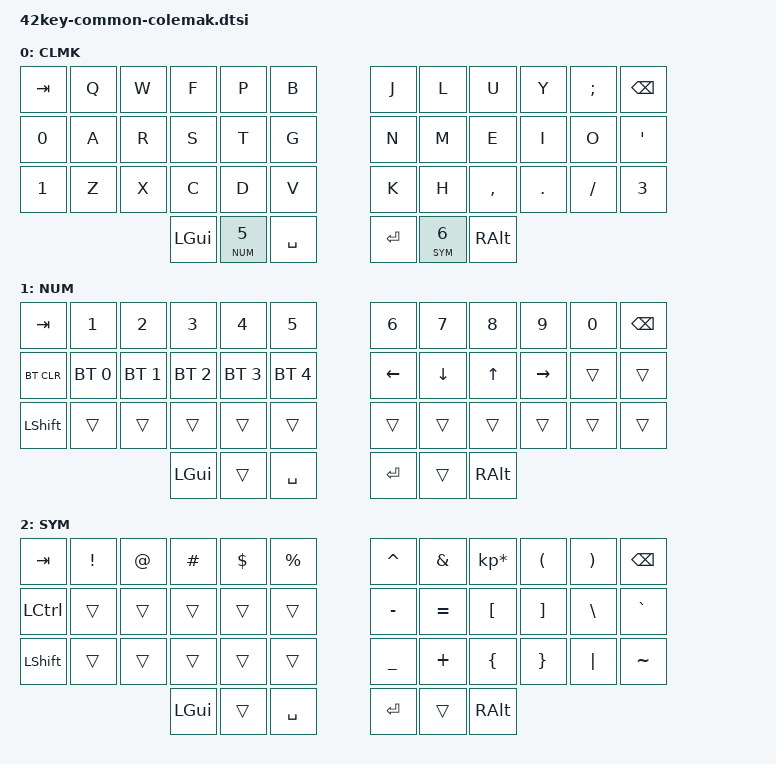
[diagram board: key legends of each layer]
#define DEFAULT 0
#define NUM     1
#define SYM     2

&mt {
   flavor = "tap-preferred";
   tapping_term_ms = <200>;
};

/ {

    // macros
    macros {
      ZMK_MACRO(hello, // hello world
        wait-ms = <0>;
        tap-ms  = <10>;
        bindings = <&kp LS(H) &kp E &kp L &kp L &kp O>
        , <&kp COMMA>
        , <&kp W &kp O &kp R &kp L &kp D &kp EXCL>;
      )

      ZMK_MACRO(encoder, // for encoder switch press
        wait-ms = <0>;
        tap-ms  = <10>;
        bindings = <&kp LS(I) &kp SPACE &kp A &kp M &kp SPACE &kp A &kp SPACE>
        , <&kp E &kp N &kp C &kp O &kp D &kp E &kp R>;
      )

      ZMK_MACRO(spc1, // for spacemacs window nav, Alt+M+1
        wait-ms = <0>;
        tap-ms  = <10>;
        bindings = <&kp LA(M) &kp N1>;
      )
    
      ZMK_MACRO(spc2,
        wait-ms = <0>;
        tap-ms  = <10>;
        bindings = <&kp LA(M) &kp N2>;
      )
    
      ZMK_MACRO(spc3,
        wait-ms = <0>;
        tap-ms  = <10>;
        bindings = <&kp LA(M) &kp N3>;
      )
    };
   
    // custom shift using mod-morph 
    // behaviors {
    //   cmqus: comma_question {
    //     compatible = "zmk,behavior-mod-morph";
    //     label = "COMMA_QUESTION";
    //     #binding-cells = <0>;
    //     bindings = <&kp COMMA>, <&kp QUESTION>;
    //     mods = <(MOD_LSFT|MOD_RSFT)>;
    //   };

    //   dtild: dot_tilde {
    //     compatible = "zmk,behavior-mod-morph";
    //     label = "DOT_TILDE";
    //     #binding-cells = <0>;
    //     bindings = <&kp DOT>, <&kp TILDE>;
    //     mods = <(MOD_LSFT|MOD_RSFT)>;
    //   };
    // };

    // combos
    combos {
        compatible = "zmk,combos";
        // right hand 
        combo_esc {
            timeout-ms = <50>;
            key-positions = <19 20>;
            bindings = <&kp ESC>;
        };
        
         combo_lgui {
            timeout-ms = <50>;
            key-positions = <6 7>;
            bindings = <&kp LGUI>;
        };
        
         combo_fullscreen {
            timeout-ms = <50>;
            key-positions = <30 31>;
            bindings = <&kp F11>;
        };
        
         combo_wkspc_up {
            timeout-ms = <50>;
            key-positions = <11 23>;
            bindings = <&kp LC(UP)>;
        };
        
         combo_wkspc_down {
            timeout-ms = <50>;
            key-positions = <23 35>;
            bindings = <&kp LC(DOWN)>;
        };

         combo_win_up {
            timeout-ms = <50>;
            key-positions = <9 10>;
            bindings = <&kp LS(LG(UP))>;
        };
        
         combo_win_down {
            timeout-ms = <50>;
            key-positions = <33 34>;
            bindings = <&kp LS(LG(DOWN))>;
        };

         combo_win_left {
            timeout-ms = <50>;
            key-positions = <21 22>;
            bindings = <&kp LS(LG(LEFT))>;
        };

         combo_win_right {
            timeout-ms = <50>;
            key-positions = <22 23>;
            bindings = <&kp LS(LG(RIGHT))>;
        };
 
         combo_rdelete {
            timeout-ms = <50>;
            key-positions = <18 19>;
            bindings = <&kp DELETE>;
        };
 
        // left hand 
        combo_zoomin {
            timeout-ms = <50>;
            key-positions = <4 5>;
            bindings = <&kp LC(PLUS)>;
        };
 
        combo_zoomout {
            timeout-ms = <50>;
            key-positions = <28 29>;
            bindings = <&kp LC(MINUS)>;
        };
 
        combo_pgdn {
            timeout-ms = <50>;
            key-positions = <27 28>;
            bindings = <&kp PG_DN>;
        };
 
        combo_pgup {
            timeout-ms = <50>;
            key-positions = <3 4>;
            bindings = <&kp PG_UP>;
        };

        combo_ldelete {
            timeout-ms = <50>;
            key-positions = <16 17>;
            bindings = <&kp DELETE>;
        };

        // symbols
        combo_underscore {
            timeout-ms = <50>;
            key-positions = <14 15>;
            bindings = <&kp UNDERSCORE>;
        };

        combo_minus {
            timeout-ms = <50>;
            key-positions = <15 16>;
            bindings = <&kp MINUS>;
        };

        // others
        combo_capswd {
            timeout-ms = <50>;
            key-positions = <3 8>;
            bindings = <&caps_word>;
        };

        combo_lsym {
            timeout-ms = <50>;
            key-positions = <37 40>;
            bindings = <&tog SYM>;
        };

        combo_lnum {
            timeout-ms = <50>;
            key-positions = <38 39>;
            bindings = <&tog NUM>;
        };

        combo_hello {
            timeout-ms = <50>;
            key-positions = <37 38>;
            bindings = <&hello>;
        };

        combo_outble {
            timeout-ms = <50>;
            key-positions = <5 17>;
            bindings = <&out OUT_BLE>;
        };

        combo_outtog {
            timeout-ms = <50>;
            key-positions = <5 29>;
            bindings = <&out OUT_TOG>;
        };

        // ble selection
        combo_ble1 {
            timeout-ms = <50>;
            key-positions = <17 29>;
            bindings = <&bt BT_SEL 0>;
        };

        combo_ble2 {
            timeout-ms = <50>;
            key-positions = <16 28>;
            bindings = <&bt BT_SEL 1>;
        };

        combo_ble3 {
            timeout-ms = <50>;
            key-positions = <15 27>;
            bindings = <&bt BT_SEL 2>;
        };

        combo_ble4 {
            timeout-ms = <50>;
            key-positions = <14 26>;
            bindings = <&bt BT_SEL 3>;
        };

        combo_ble5 {
            timeout-ms = <50>;
            key-positions = <13 25>;
            bindings = <&bt BT_SEL 4>;
        };
    };

    keymap {
        compatible = "zmk,keymap";

        default_layer {
            label = "CLMK";
// -----------------------------------------------------------------------------------------
// |  TAB |  Q  |  W  |  E  |  R  |  T  |   |  Y  |  U   |  I  |  O  |  P  | BKSP |
// | CTRL |  A  |  S  |  D  |  F  |  G  |   |  H  |  J   |  K  |  L  |  ;  |  '   |
// | SHFT |  Z  |  X  |  C  |  V  |  B  |   |  N  |  M   |  ,  |  .  |  /  | ESC  |
//                    | GUI | LWR | SPC |   | ENT | RSE  | ALT |
                        bindings = <
   &kp TAB   &kp Q &kp W &kp F &kp P &kp B   &kp J &kp L  &kp U     &kp Y   &kp SEMI    &kp BSPC
   &kp N0    &kp A &kp R &kp S &kp T &kp G   &kp N &kp M  &kp E     &kp I   &kp O &kp SQT
   &kp N1    &kp Z &kp X &kp C &kp D &kp V   &kp K &kp H  &kp COMMA &kp DOT &kp FSLH &kp N3
             &kp LGUI &lt NUM N5 &kp SPACE   &kp RET &lt SYM N6 &kp RALT
                        >;
                };
                lower_layer {
                        label = "NUM";
// -----------------------------------------------------------------------------------------
// |  TAB |  1  |  2  |  3  |  4  |  5  |   |  6  |  7  |  8  |  9  |  0  | BKSP |
// | BTCLR| BT1 | BT2 | BT3 | BT4 | BT5 |   | LFT | DWN |  UP | RGT |     |      |
// | SHFT |     |     |     |     |     |   |     |     |     |     |     |      |
//                    | GUI |     | SPC |   | ENT |     | ALT |
                        bindings = <
   &kp TAB    &kp N1       &kp N2       &kp N3       &kp N4       &kp N5         &kp N6   &kp N7   &kp N8 &kp N9    &kp N0 &kp BSPC
   &bt BT_CLR &bt BT_SEL 0 &bt BT_SEL 1 &bt BT_SEL 2 &bt BT_SEL 3 &bt BT_SEL 4   &kp LEFT &kp DOWN &kp UP &kp RIGHT &trans &trans
   &kp LSHFT  &trans       &trans       &trans       &trans       &trans         &trans   &trans   &trans &trans    &trans &trans
                          	        &kp LGUI     &trans       &kp SPACE      &kp RET  &trans   &kp RALT
                        >;
                };

                raise_layer {
                        label = "SYM";
// -----------------------------------------------------------------------------------------
// |  TAB |  !  |  @  |  #  |  $  |  %  |   |  ^  |  &  |  *  |  (  |  )  | BKSP |
// | CTRL |     |     |     |     |     |   |  -  |  =  |  [  |  ]  |  \  |  `   |
// | SHFT |     |     |     |     |     |   |  _  |  +  |  {  |  }  | "|" |  ~   |
//                    | GUI |     | SPC |   | ENT |     | ALT |
                        bindings = <
   &kp  TAB  &kp EXCL &kp AT &kp HASH &kp DLLR &kp PRCNT   &kp CARET &kp AMPS  &kp KP_MULTIPLY &kp LPAR &kp RPAR &kp BSPC
   &kp LCTRL &trans   &trans &trans   &trans   &trans      &kp MINUS &kp EQUAL &kp LBKT        &kp RBKT &kp BSLH &kp GRAVE
   &kp LSHFT &trans   &trans &trans   &trans   &trans      &kp UNDER &kp PLUS  &kp LBRC        &kp RBRC &kp PIPE &kp TILDE
                    	     &kp LGUI &trans   &kp SPACE   &kp RET   &trans    &kp RALT
                        >;
                };
        };
};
